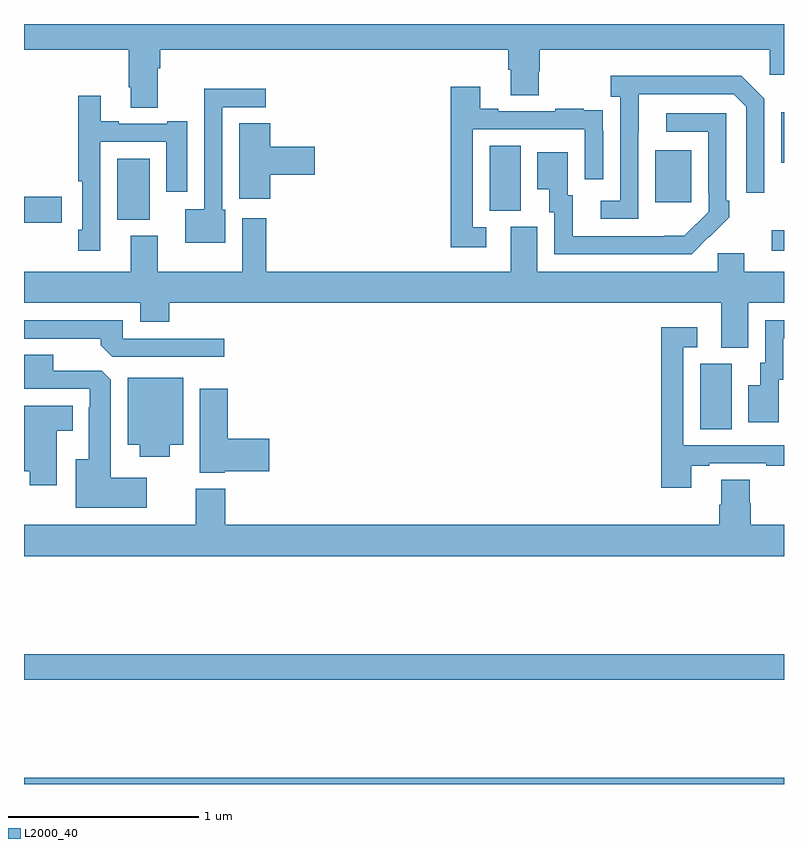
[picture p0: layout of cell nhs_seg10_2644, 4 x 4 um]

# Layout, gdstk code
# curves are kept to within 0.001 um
import gdstk
lib = gdstk.Library(unit=1e-6, precision=1e-09)
def R(c, l, rs):  # rectangles x0, y0, x1, y1
    for r in rs: c.add(gdstk.rectangle(r[:2], r[2:], *l))
def P(c, l, *ps):  # polygons
    for p in ps: c.add(gdstk.Polygon(p, *l))
L2000_40 = (2000, 40)

nhs_seg10_2644 = lib.new_cell('nhs_seg10_2644')
R(nhs_seg10_2644, L2000_40, [(255,1248.5,259,1248.532), (255,1249.048,259,1249.184), (258.56,1250.368,258.724,1250.712), (258.936,1251.306,259,1251.415), (255,1251.455,255.199,1251.59), (255.491,1251.47,255.661,1251.79), (257.45,1251.517,257.614,1251.86), (258.323,1251.561,258.511,1251.835), (258.986,1251.77,259,1252.035)])
P(nhs_seg10_2644, L2000_40, [(255.703,1252.268),(255.716,1252.268),(255.716,1252.364),(257.549,1252.364),(257.549,1252.258),(257.561,1252.258),(257.561,1252.126),(257.709,1252.126),(257.709,1252.251),(257.714,1252.251),(257.714,1252.364),(258.924,1252.364),(258.924,1252.233),(259,1252.233),(259,1252.5),(255,1252.5),(255,1252.364),(255.551,1252.364),(255.551,1252.168),(255.563,1252.168),(255.563,1252.06),(255.703,1252.06)],
  [(258.234,1251.931),(258.235,1252.131),(258.735,1252.131),(258.801,1252.065),(258.801,1251.612),(258.897,1251.612),(258.897,1252.107),(258.776,1252.228),(258.087,1252.228),(258.087,1252.118),(258.138,1252.118),(258.138,1251.57),(258.036,1251.57),(258.036,1251.474),(258.234,1251.474)],
  [(257.434,1251.429),(257.361,1251.429),(257.361,1251.945),(257.952,1251.945),(257.952,1251.684),(258.048,1251.684),(258.048,1251.938),(258.047,1251.938),(258.047,1252.047),(257.945,1252.047),(257.945,1252.054),(257.797,1252.054),(257.797,1252.041),(257.497,1252.041),(257.497,1252.054),(257.401,1252.054),(257.401,1252.171),(257.245,1252.171),(257.245,1251.324),(257.434,1251.324)],
  [(256.06,1251.522),(256.044,1251.522),(256.044,1252.062),(256.273,1252.062),(256.273,1252.16),(255.948,1252.16),(255.948,1251.526),(255.848,1251.526),(255.848,1251.35),(256.06,1251.35)],
  [(255.402,1251.879),(255.749,1251.879),(255.749,1251.618),(255.859,1251.618),(255.859,1251.988),(255.755,1251.988),(255.755,1251.975),(255.499,1251.975),(255.499,1251.988),(255.403,1251.988),(255.403,1252.123),(255.286,1252.123),(255.286,1251.673),(255.306,1251.673),(255.306,1251.418),(255.286,1251.418),(255.286,1251.306),(255.402,1251.306)],
  [(258.605,1251.379),(258.606,1251.378),(258.711,1251.483),(258.711,1251.571),(258.696,1251.571),(258.696,1252.029),(258.381,1252.029),(258.381,1251.933),(258.6,1251.933),(258.6,1251.613),(258.603,1251.613),(258.603,1251.513),(258.475,1251.385),(257.887,1251.384),(257.887,1251.6),(257.863,1251.6),(257.863,1251.826),(257.702,1251.826),(257.702,1251.629),(257.765,1251.629),(257.765,1251.51),(257.79,1251.51),(257.79,1251.288),(258.514,1251.288)],
  [(256.295,1251.707),(256.531,1251.707),(256.531,1251.854),(256.295,1251.854),(256.295,1251.977),(256.133,1251.977),(256.133,1251.579),(256.295,1251.579)],
  [(258.811,1251.032),(259,1251.032),(259,1251.196),(258.79,1251.196),(258.79,1251.294),(258.651,1251.294),(258.651,1251.196),(257.701,1251.196),(257.701,1251.432),(257.561,1251.432),(257.561,1251.196),(256.274,1251.196),(256.274,1251.478),(256.148,1251.478),(256.148,1251.196),(255.703,1251.196),(255.703,1251.385),(255.563,1251.385),(255.563,1251.196),(255,1251.196),(255,1251.032),(255.611,1251.032),(255.611,1250.933),(255.764,1250.933),(255.764,1251.032),(258.671,1251.032),(258.671,1250.797),(258.811,1250.797)],
  [(256.054,1250.844),(255.519,1250.844),(255.519,1250.94),(255,1250.94),(255,1250.844),(255.404,1250.844),(255.404,1250.81),(255.465,1250.748),(256.054,1250.748)],
  [(258.973,1250.628),(258.997,1250.628),(258.997,1250.844),(259,1250.844),(259,1250.94),(258.9,1250.94),(258.9,1250.718),(258.875,1250.718),(258.875,1250.599),(258.812,1250.599),(258.812,1250.403),(258.973,1250.403)],
  [(258.511,1250.175),(258.607,1250.175),(258.607,1250.187),(258.907,1250.187),(258.907,1250.175),(259,1250.175),(259,1250.283),(258.471,1250.283),(258.471,1250.799),(258.544,1250.799),(258.544,1250.905),(258.355,1250.905),(258.355,1250.058),(258.511,1250.058)],
  [(255.646,1250.113),(255.457,1250.113),(255.457,1250.627),(255.408,1250.676),(255.154,1250.676),(255.154,1250.759),(255.002,1250.759),(255.002,1250.58),(255.345,1250.58),(255.345,1250.483),(255.341,1250.483),(255.341,1250.209),(255.272,1250.209),(255.272,1249.955),(255.646,1249.955)],
  [(255.766,1250.285),(255.838,1250.285),(255.838,1250.638),(255.545,1250.638),(255.545,1250.285),(255.608,1250.285),(255.608,1250.222),(255.766,1250.222)],
  [(256.056,1250.147),(256.291,1250.147),(256.291,1250.318),(256.073,1250.318),(256.073,1250.581),(255.926,1250.581),(255.926,1250.138),(256.056,1250.138)],
  [(255.172,1250.36),(255.256,1250.36),(255.256,1250.491),(255,1250.491),(255,1250.147),(255.029,1250.147),(255.029,1250.073),(255.172,1250.073)],
  [(258.819,1249.977),(258.819,1250.102),(258.671,1250.102),(258.671,1249.97),(258.659,1249.97),(258.659,1249.864),(256.058,1249.864),(256.058,1250.053),(255.905,1250.053),(255.905,1249.864),(255,1249.864),(255,1249.7),(259,1249.7),(259,1249.864),(258.824,1249.864),(258.824,1249.977)])

lib.write_gds('nhs_seg10_2644.gds')
